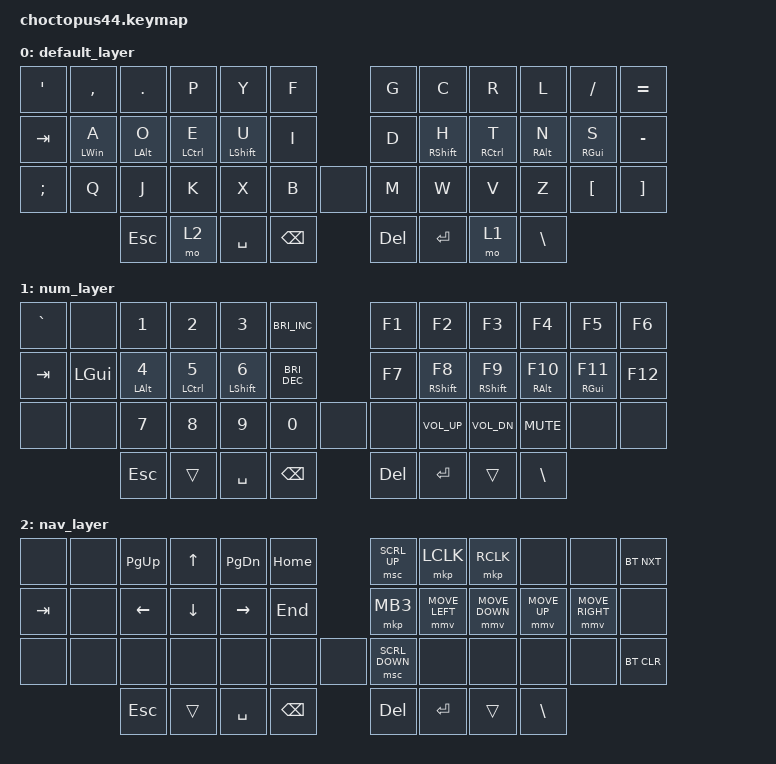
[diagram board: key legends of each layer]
/*
 * Copyright (c) 2021 The ZMK Contributors
 *
 * SPDX-License-Identifier: MIT
 */

#include <behaviors.dtsi>
#include <dt-bindings/zmk/keys.h>
#include <dt-bindings/zmk/bt.h>
#include <dt-bindings/zmk/pointing.h>

&mt {
    tapping-term-ms = <400>;
};

/ {
  keymap {
    compatible = "zmk,keymap";


    default_layer {
      bindings = <
        &kp SQT     &kp COMMA     &kp DOT       &kp P     &kp Y    &kp F                &kp G     &kp C     &kp R      &kp L    &kp FSLH     &kp EQUAL
        &kp TAB     &mt LEFT_WIN A     &mt LEFT_ALT O  &mt LEFT_CONTROL E  &mt LEFT_SHIFT U  &kp I         &kp D    &mt RIGHT_SHIFT H  &mt RIGHT_CONTROL T  &mt RIGHT_ALT N  &mt RIGHT_GUI S  &kp MINUS
        &kp SEMI  &kp Q           &kp J           &kp K               &kp X             &kp B  &none  &kp M    &kp W              &kp V                &kp Z            &kp LBKT         &kp RBKT
                              &kp ESC         &mo 2               &kp SPACE         &kp BSPC      &kp DEL  &kp RET            &mo 1                &kp BSLH
      >;
    };

    num_layer {
      bindings = <
        &kp GRAVE  &none         &kp N1           &kp N2               &kp N3             &kp C_BRIGHTNESS_INC         &kp F1  &kp F2              &kp F3              &kp F4             &kp F5             &kp F6
        &kp TAB    &kp LEFT_GUI  &mt LEFT_ALT N4  &mt LEFT_CONTROL N5  &mt LEFT_SHIFT N6  &kp C_BRIGHTNESS_DEC         &kp F7  &mt RIGHT_SHIFT F8  &mt RIGHT_SHIFT F9  &mt RIGHT_ALT F10  &mt RIGHT_GUI F11  &kp F12
        &none      &none         &kp N7           &kp N8               &kp N9             &kp N0                &none  &none   &kp C_VOLUME_UP     &kp C_VOL_DN        &kp K_MUTE         &none              &none
                            &kp ESC          &trans               &kp SPACE          &kp BSPC                     &kp DEL &kp RET             &trans              &kp BSLH
      >;
    };

    nav_layer {
      bindings = <
        &none    &none  &kp PAGE_UP  &kp UP_ARROW  &kp PAGE_DOWN  &kp HOME         &msc SCRL_UP    &mkp LCLK       &mkp RCLK       &none         &none            &bt BT_NXT
        &kp TAB  &none  &kp LEFT     &kp DOWN      &kp RIGHT      &kp END          &mkp MB3        &mmv MOVE_LEFT  &mmv MOVE_DOWN  &mmv MOVE_UP  &mmv MOVE_RIGHT  &none
        &none    &none  &none        &none         &none          &none     &none  &msc SCRL_DOWN  &none           &none           &none         &none            &bt BT_CLR
                                      &kp ESC      &trans        &kp SPACE      &kp BSPC         &kp DEL         &kp RET         &trans          &kp BSLH
      >;
    };
  };
};
